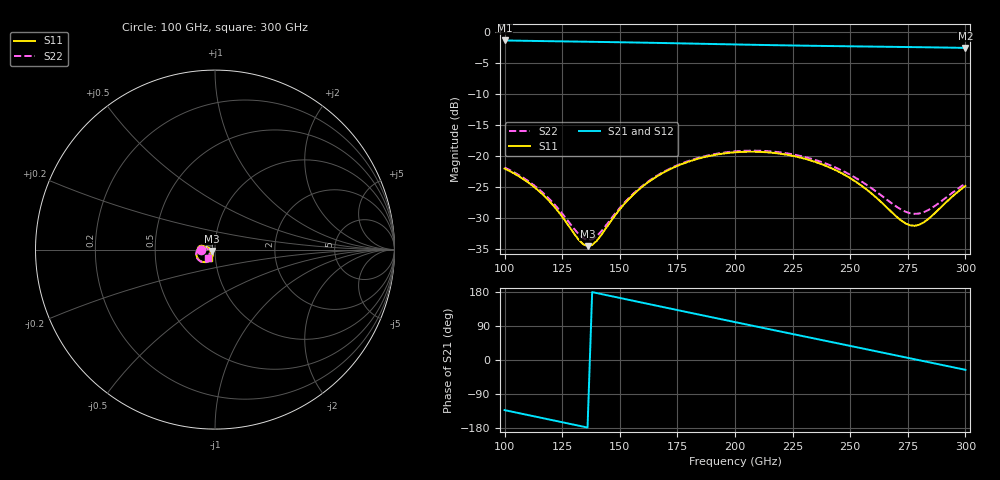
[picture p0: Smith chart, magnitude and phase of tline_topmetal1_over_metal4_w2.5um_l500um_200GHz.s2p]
#  GHZ S DB R 50
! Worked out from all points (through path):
!   101 points, 100 GHz to 300 GHz, reference 50 ohm
!   highest |S21| = -1.43 dB at 100 GHz (marker M1); lowest = -2.6 dB at 300 GHz (marker M2)
!   group delay of S21, straight-line fit = 3.52 ps
!   lowest |S11| = -34.5 dB at 136 GHz (marker M3), VSWR 1.04, Z = 48.3 - j0.769 ohm
!   |S11| at or under -10 dB: start of sweep to end of sweep
!   |S22| runs from -33.5 to -19.1 dB; largest |S21 - S12| = 9.6e-14
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100  -22.04 178.6  -1.43 -132.3  -1.43 -132.3  -21.87 -179.7
108  -23.69 170.6  -1.48 -142.5  -1.48 -142.5  -23.48 172.7
116  -26.00 165.2  -1.52 -152.7  -1.52 -152.7  -25.71 167.7
122  -28.35 164.7  -1.56 -160.4  -1.56 -160.4  -27.94 167.6
134  -34.17 -166.5  -1.62 -175.7  -1.62 -175.7  -33.19 -165.5
136  -34.51 -155.0  -1.63 -178.3  -1.63 -178.3  -33.52 -155.4
140  -33.64 -133.0  -1.66 176.6  -1.66 176.6  -32.90 -135.5
150  -28.57 -111.2  -1.71 163.8  -1.71 163.8  -28.35 -113.1
156  -26.16 -110.9  -1.75 156.1  -1.75 156.1  -26.02 -111.9
168  -22.87 -118.4  -1.83 140.7  -1.83 140.7  -22.76 -118.4
184  -20.44 -133.7  -1.95 120.3  -1.95 120.3  -20.32 -132.8
200  -19.41 -150.4  -2.07 100.1  -2.07 100.1  -19.26 -148.9
216  -19.48 -167.0  -2.18 79.9  -2.18 79.9  -19.28 -164.8
224  -19.91 -175.0  -2.23 69.8  -2.23 69.8  -19.67 -172.3
234  -20.86 175.8  -2.28 57.3  -2.28 57.3  -20.55 179.1
244  -22.34 168.0  -2.34 44.7  -2.34 44.7  -21.92 172.1
252  -24.03 163.8  -2.38 34.7  -2.38 34.7  -23.44 168.6
268  -29.03 170.7  -2.45 14.5  -2.45 14.5  -27.61 175.5
274  -30.84 -174.1  -2.48 6.9  -2.48 6.9  -28.96 -172.4
280  -31.06 -152.3  -2.51 -0.6  -2.51 -0.6  -29.24 -156.0
286  -29.45 -135.1  -2.54 -8.2  -2.54 -8.2  -28.22 -141.5
300  -24.81 -124.8  -2.62 -25.9  -2.62 -25.9  -24.42 -129.6
